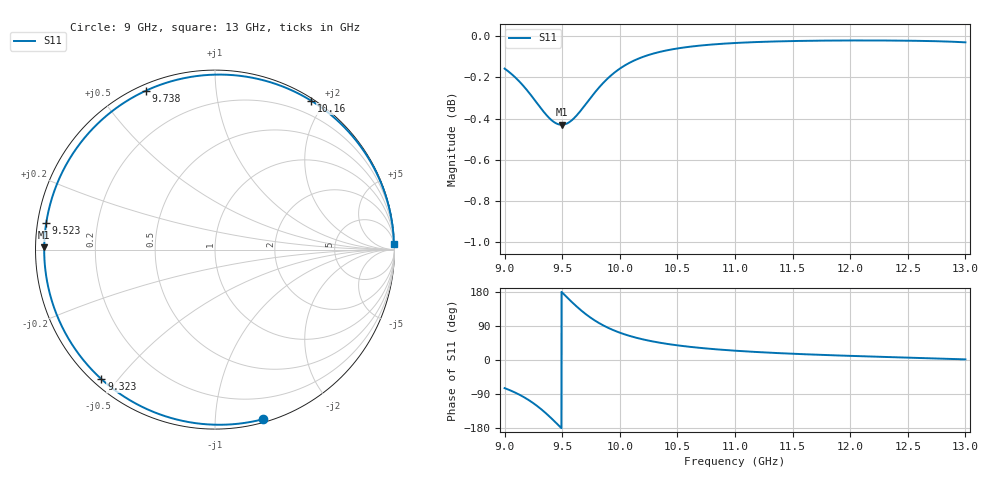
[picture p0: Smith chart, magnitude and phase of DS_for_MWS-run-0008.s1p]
! TOUCHSTONE file generated by CST DESIGN STUDIO
! Date and time: Tue Feb  4 13:17:44 2025
! Project name: C:\Work\MatlabApps\UnitCellOptimizationMatlab\CST\unitcell.cst
! Tree item: Tasks\Sweep1\SPara1\S-Parameters
! Header version: 2024
! Port assignment regex: !\s*Touchstone port\s*([0-9]+)\s*=\s*(CST MWS port|CST DES external port|CST DES block port)\s*(.+)\s* \(\"(.*)\"\)(\s*mode\s*([0-9]+))?.*
! Touchstone port assignment:
! Touchstone port 1 = CST DES external port 1 ("")
# GHz S MA R 50
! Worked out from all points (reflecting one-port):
!   4001 points, 9 GHz to 13 GHz, reference 50 ohm
!   lowest |S11| = -0.4 dB at 9.496 GHz (marker M1), VSWR 40.40, Z = 1.24 + j0.356 ohm
!   phase of S11 starts at -74 deg and turns -284 deg over the sweep
!   S11 on the Smith chart (normalised r, x): 9 GHz: 0.02, -1.32; 9.323 GHz: 0.02, -0.45; 9.523 GHz: 0.02, +0.08; 9.738 GHz: 0.03, +0.66; 10.16 GHz: 0.03, +1.84; 13 GHz: 8, +69
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9  0.9821 -74.2
9.086  0.9776 -85.2
9.187  0.9708 -101.5
9.258  0.9652 -115.9
9.323  0.9599 -131.2
9.369  0.9565 -143.4
9.418  0.9536 -157.3
9.458  0.9522 -169.3
9.496  0.9517 179.2
9.5  0.9517 178.0
9.523  0.9519 171.0
9.575  0.9537 155.4
9.635  0.9573 138.6
9.686  0.9612 125.5
9.738  0.9655 113.5
9.791  0.9696 102.8
9.849  0.9738 92.5
9.923  0.9783 81.5
10  0.9821 72.1
10.164  0.9876 57.1
10.316  0.9908 47.3
10.5  0.9932 38.7
10.722  0.995 31.2
11  0.9962 24.6
11.5  0.9973 16.5
12  0.9977 10.9
12.5  0.9975 6.3
13  0.9966 1.6
